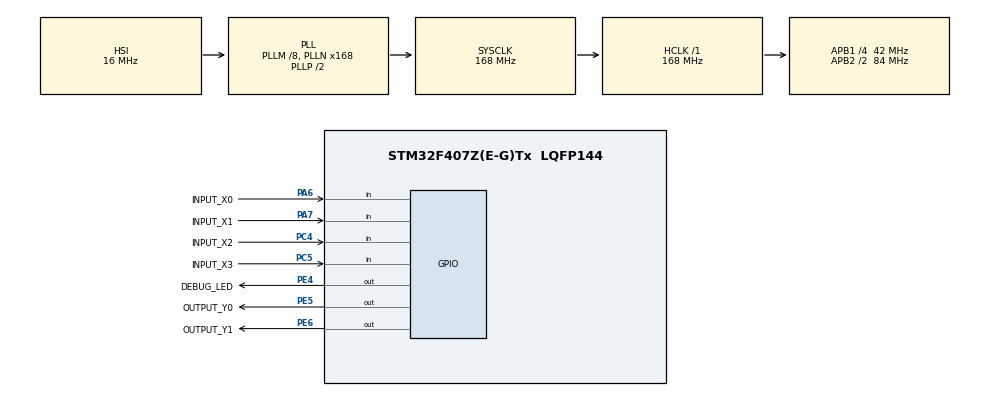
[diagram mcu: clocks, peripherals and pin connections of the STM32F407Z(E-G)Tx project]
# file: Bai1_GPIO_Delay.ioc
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Mcu.Family=STM32F4
Mcu.Name=STM32F407Z(E-G)Tx
Mcu.Package=LQFP144
NVIC.PriorityGroup=NVIC_PRIORITYGROUP_4
PA13.Mode=Serial_Wire
PA13.Signal=SYS_JTMS-SWDIO
PA14.Mode=Serial_Wire
PA14.Signal=SYS_JTCK-SWCLK
PA6.GPIO_Label=INPUT_X0
PA6.Signal=GPIO_Input
PA7.GPIO_Label=INPUT_X1
PA7.Signal=GPIO_Input
PC4.GPIO_Label=INPUT_X2
PC4.Signal=GPIO_Input
PC5.GPIO_Label=INPUT_X3
PC5.Signal=GPIO_Input
PE4.GPIO_Label=DEBUG_LED
PE4.Signal=GPIO_Output
PE5.GPIO_Label=OUTPUT_Y0
PE5.Signal=GPIO_Output
PE6.GPIO_Label=OUTPUT_Y1
PE6.Signal=GPIO_Output
PH0-OSC_IN.Mode=HSE-External-Oscillator
PH0-OSC_IN.Signal=RCC_OSC_IN
PH1-OSC_OUT.Mode=HSE-External-Oscillator
PH1-OSC_OUT.Signal=RCC_OSC_OUT
ProjectManager.HeapSize=0x200
ProjectManager.StackSize=0x400
ProjectManager.TargetToolchain=STM32CubeIDE
RCC.48MHZClocksFreq_Value=84000000
RCC.AHBFreq_Value=168000000
RCC.APB1CLKDivider=RCC_HCLK_DIV4
RCC.APB1Freq_Value=42000000
RCC.APB1TimFreq_Value=84000000
RCC.APB2CLKDivider=RCC_HCLK_DIV2
RCC.APB2Freq_Value=84000000
RCC.APB2TimFreq_Value=168000000
RCC.CortexFreq_Value=168000000
RCC.HCLKFreq_Value=168000000
RCC.HSE_VALUE=8000000
RCC.HSI_VALUE=16000000
RCC.LSE_VALUE=32768
RCC.PLLM=8
RCC.PLLN=168
RCC.SYSCLKFreq_VALUE=168000000
RCC.SYSCLKSource=RCC_SYSCLKSOURCE_PLLCLK
RCC.VCOOutputFreq_Value=336000000
board=custom

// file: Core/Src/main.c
/* USER CODE BEGIN Header */
/**
  ******************************************************************************
  * @file           : main.c
  * @brief          : Main program body
  ******************************************************************************
  * @attention
  *
  * <h2><center>&copy; Copyright (c) 2023 STMicroelectronics.
  * All rights reserved.</center></h2>
  *
  * This software component is licensed by ST under BSD 3-Clause license,
  * the "License"; You may not use this file except in compliance with the
  * License. You may obtain a copy of the License at:
  *                        opensource.org/licenses/BSD-3-Clause
  *
  ******************************************************************************
  */
/* USER CODE END Header */
#include "main.h"
#include "gpio.h"

void SystemClock_Config(void);

int main(void)
{

  /* MCU Configuration--------------------------------------------------------*/

  /* Reset of all peripherals, Initializes the Flash interface and the Systick. */
  HAL_Init();

  /* Configure the system clock */
  SystemClock_Config();

  /* Initialize all configured peripherals */
  MX_GPIO_Init();
  /* USER CODE BEGIN 2 */
  //setup code

  /* USER CODE END 2 */

  /* Infinite loop */
  /* USER CODE BEGIN WHILE */
  // loop
  int counter = 0;
  int state = 0;
  HAL_GPIO_WritePin(OUTPUT_Y1_GPIO_Port, OUTPUT_Y1_Pin, 1);
  HAL_GPIO_WritePin(OUTPUT_Y0_GPIO_Port, OUTPUT_Y0_Pin, 0);
  HAL_GPIO_WritePin(DEBUG_LED_GPIO_Port, DEBUG_LED_Pin, 0);
  while (1)
  {
	// set output 0
//	if(state ==0){
//		if(counter >= 4){
//			counter == 0;
//			state = 1;
//			HAL_GPIO_WritePin(DEBUG_LED_GPIO_Port, DEBUG_LED_Pin, 1);
//		}
//	}else{
//		if(counter >= 2){
//			counter == 0;
//			state = 1;
//			HAL_GPIO_WritePin(DEBUG_LED_GPIO_Port, DEBUG_LED_Pin, 0);
//		}
//	}
	if(state == 0){
		if(counter >= 5){
			counter = 0;
			state = 1;
			HAL_GPIO_WritePin(OUTPUT_Y1_GPIO_Port, OUTPUT_Y1_Pin, 0);
			HAL_GPIO_WritePin(OUTPUT_Y0_GPIO_Port, OUTPUT_Y0_Pin, 0);
			HAL_GPIO_WritePin(DEBUG_LED_GPIO_Port, DEBUG_LED_Pin, 1);
		}
	}
	if(state == 1){
		if(counter >= 3){
			counter = 0;
			state = 2;
			HAL_GPIO_WritePin(OUTPUT_Y1_GPIO_Port, OUTPUT_Y1_Pin, 0);
			HAL_GPIO_WritePin(OUTPUT_Y0_GPIO_Port, OUTPUT_Y0_Pin, 1);
			HAL_GPIO_WritePin(DEBUG_LED_GPIO_Port, DEBUG_LED_Pin, 0);
		}
	}
	if(state == 2){
		if(counter >= 2){
			counter = 0;
			state = 0;
			HAL_GPIO_WritePin(OUTPUT_Y1_GPIO_Port, OUTPUT_Y1_Pin, 1);
			HAL_GPIO_WritePin(OUTPUT_Y0_GPIO_Port, OUTPUT_Y0_Pin, 0);
			HAL_GPIO_WritePin(DEBUG_LED_GPIO_Port, DEBUG_LED_Pin, 0);
		}
	}
	counter++;
	// delay 1000ms
	HAL_Delay(1000);

    /* USER CODE END WHILE */

  }
}

void SystemClock_Config(void)
{
  RCC_OscInitTypeDef RCC_OscInitStruct = {0};
  RCC_ClkInitTypeDef RCC_ClkInitStruct = {0};

  /** Configure the main internal regulator output voltage
  */
  __HAL_RCC_PWR_CLK_ENABLE();
  __HAL_PWR_VOLTAGESCALING_CONFIG(PWR_REGULATOR_VOLTAGE_SCALE1);
  /** Initializes the RCC Oscillators according to the specified parameters
  * in the RCC_OscInitTypeDef structure.
  */
  RCC_OscInitStruct.OscillatorType = RCC_OSCILLATORTYPE_HSI;
  RCC_OscInitStruct.HSIState = RCC_HSI_ON;
  RCC_OscInitStruct.HSICalibrationValue = RCC_HSICALIBRATION_DEFAULT;
  RCC_OscInitStruct.PLL.PLLState = RCC_PLL_ON;
  RCC_OscInitStruct.PLL.PLLSource = RCC_PLLSOURCE_HSI;
  RCC_OscInitStruct.PLL.PLLM = 8;
  RCC_OscInitStruct.PLL.PLLN = 168;
  RCC_OscInitStruct.PLL.PLLP = RCC_PLLP_DIV2;
  RCC_OscInitStruct.PLL.PLLQ = 4;
  if (HAL_RCC_OscConfig(&RCC_OscInitStruct) != HAL_OK)
  {
    Error_Handler();
  }
  /** Initializes the CPU, AHB and APB buses clocks
  */
  RCC_ClkInitStruct.ClockType = RCC_CLOCKTYPE_HCLK|RCC_CLOCKTYPE_SYSCLK
                              |RCC_CLOCKTYPE_PCLK1|RCC_CLOCKTYPE_PCLK2;
  RCC_ClkInitStruct.SYSCLKSource = RCC_SYSCLKSOURCE_PLLCLK;
  RCC_ClkInitStruct.AHBCLKDivider = RCC_SYSCLK_DIV1;
  RCC_ClkInitStruct.APB1CLKDivider = RCC_HCLK_DIV4;
  RCC_ClkInitStruct.APB2CLKDivider = RCC_HCLK_DIV2;

  if (HAL_RCC_ClockConfig(&RCC_ClkInitStruct, FLASH_LATENCY_5) != HAL_OK)
  {
    Error_Handler();
  }
}

void Error_Handler(void)
{
  __disable_irq();
  while (1)
  {
  }
}

/************************ (C) COPYRIGHT STMicroelectronics *****END OF FILE****/
